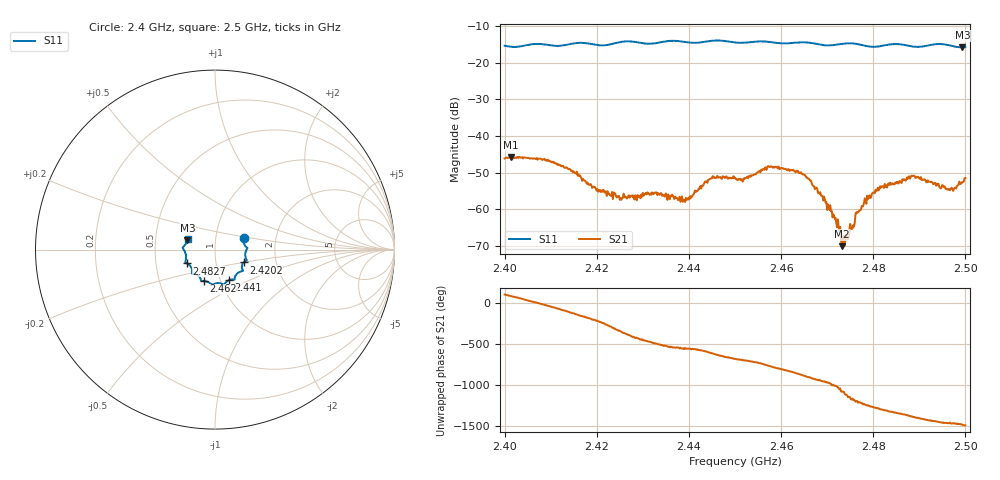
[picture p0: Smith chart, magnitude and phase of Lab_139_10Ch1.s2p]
# Hz S RI R 50
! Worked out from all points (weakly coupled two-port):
!   601 points, 2.4 GHz to 2.5 GHz, reference 50 ohm
!   highest |S21| = -45.70 dB at 2.4013 GHz (marker M1); lowest = -70.1 dB at 2.4732 GHz (marker M2)
!   lowest |S11| = -15.8 dB at 2.4993 GHz (marker M3), VSWR 1.39, Z = 36.5 + j3.81 ohm
!   |S11| at or under -10 dB: start of sweep to end of sweep
!   S12 and S22 are empty: the file has one direction only
!   S11 on the Smith chart (normalised r, x): 2.4 GHz: 1.36, +0.18; 2.4202 GHz: 1.36, -0.20; 2.441 GHz: 1.10, -0.39; 2.462 GHz: 0.84, -0.30; 2.4827 GHz: 0.72, -0.11; 2.5 GHz: 0.73, +0.09
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2.4e9  0.159 0.0629  -0.00101 0.00482  0 0  0 0
2.401333e9  0.1585 0.0475  0.000532 0.00516  0 0  0 0
2.409167e9  0.1764 0.000199  0.00394 -0.00235  0 0  0 0
2.416667e9  0.1772 -0.0608  -0.0025 -0.000873  0 0  0 0
2.420167e9  0.1588 -0.0715  -0.00144 0.0012  0 0  0 0
2.425167e9  0.1544 -0.1145  0.00136 0.00036  0 0  0 0
2.433333e9  0.1115 -0.1508  -0.00132 -0.000999  0 0  0 0
2.441e9  0.0789 -0.1698  -0.00144 0.000649  0 0  0 0
2.445e9  0.0522 -0.1931  -0.000839 0.0025  0 0  0 0
2.45e9  0.0284 -0.1876  0.00206 0.00175  0 0  0 0
2.462e9  -0.0603 -0.1754  -0.00141 -0.00314  0 0  0 0
2.466667e9  -0.0789 -0.1682  -0.00213 0.000682  0 0  0 0
2.471167e9  -0.1055 -0.1379  0.000164 0.000755  0 0  0 0
2.473167e9  -0.1213 -0.1345  0.000311 3.08e-05  0 0  0 0
2.474333e9  -0.1262 -0.1343  0.000283 -0.00028  0 0  0 0
2.478667e9  -0.1286 -0.1091  -0.00149 -0.000318  0 0  0 0
2.482667e9  -0.1559 -0.077  -0.00136 0.00148  0 0  0 0
2.483333e9  -0.1605 -0.075  -0.00114 0.00194  0 0  0 0
2.488667e9  -0.1608 -0.0419  0.00177 0.00223  0 0  0 0
2.496167e9  -0.1741 0.0179  0.00174 -0.000706  0 0  0 0
2.499333e9  -0.1541 0.0508  0.0017 -0.00156  0 0  0 0
2.5e9  -0.1523 0.0604  0.00172 -0.00204  0 0  0 0
